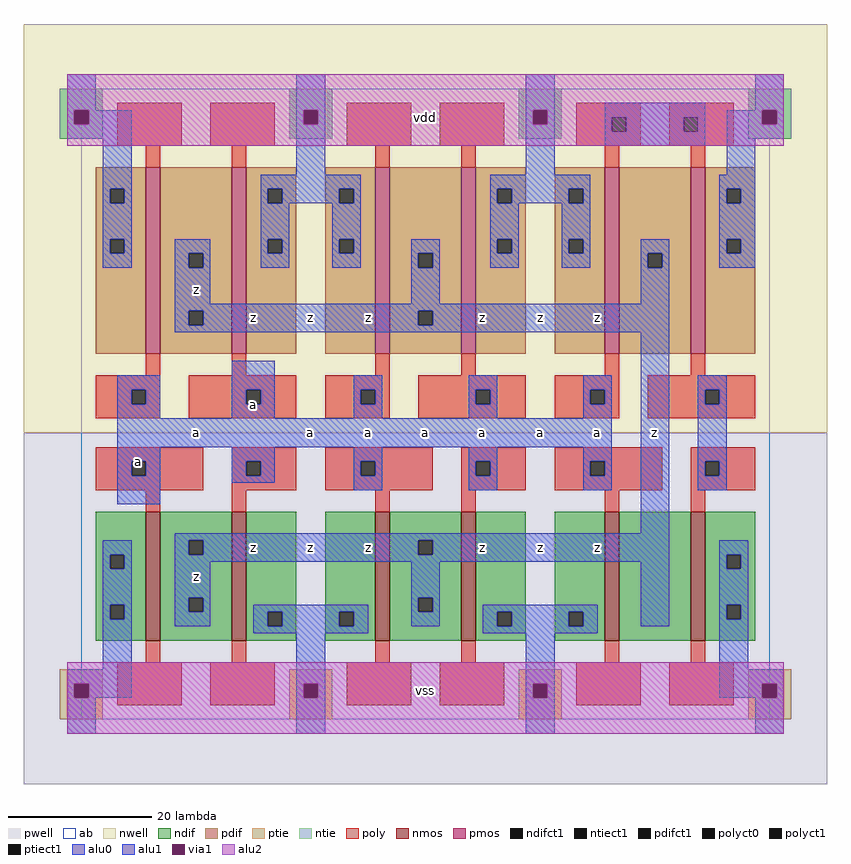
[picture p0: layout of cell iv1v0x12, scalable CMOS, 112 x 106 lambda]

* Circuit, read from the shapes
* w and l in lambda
.subckt iv1v0x12 a vdd vss z
M1 z a vss vss nfet w=18 l=2 m=4
M2 n1 a vss vss nfet w=18 l=2 m=2
M3 z a vdd vdd pfet w=26 l=2 m=6
.ends

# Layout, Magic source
magic
tech scmos
<< ab >>
rect 0 0 96 88
<< nwell >>
rect -8 40 104 97
<< pwell >>
rect -8 -9 104 40
<< poly >>
rect 5 80 14 86
rect 18 80 27 86
rect 37 80 46 86
rect 50 80 59 86
rect 69 84 78 86
rect 69 82 74 84
rect 76 82 78 84
rect 69 80 78 82
rect 82 84 91 86
rect 82 82 84 84
rect 86 82 91 84
rect 82 80 91 82
rect 9 77 11 80
rect 21 77 23 80
rect 41 77 43 80
rect 53 77 55 80
rect 73 77 75 80
rect 85 77 87 80
rect 9 48 11 51
rect 21 48 23 51
rect 41 48 43 51
rect 53 48 55 51
rect 73 48 75 51
rect 85 48 87 51
rect 2 46 11 48
rect 2 44 7 46
rect 9 44 11 46
rect 2 42 11 44
rect 15 46 30 48
rect 15 44 23 46
rect 25 44 30 46
rect 15 42 30 44
rect 34 46 43 48
rect 34 44 39 46
rect 41 44 43 46
rect 34 42 43 44
rect 47 46 62 48
rect 47 44 55 46
rect 57 44 62 46
rect 47 42 62 44
rect 66 46 75 48
rect 66 44 71 46
rect 73 44 75 46
rect 66 42 75 44
rect 79 46 94 48
rect 79 44 87 46
rect 89 44 94 46
rect 79 42 94 44
rect 2 36 17 38
rect 2 34 7 36
rect 9 34 17 36
rect 2 32 17 34
rect 21 36 30 38
rect 21 34 23 36
rect 25 34 30 36
rect 21 32 30 34
rect 34 36 49 38
rect 34 34 39 36
rect 41 34 49 36
rect 34 32 49 34
rect 53 36 62 38
rect 53 34 55 36
rect 57 34 62 36
rect 53 32 62 34
rect 66 36 81 38
rect 66 34 71 36
rect 73 34 81 36
rect 66 32 81 34
rect 85 36 94 38
rect 85 34 87 36
rect 89 34 94 36
rect 85 32 94 34
rect 9 29 11 32
rect 21 29 23 32
rect 41 29 43 32
rect 53 29 55 32
rect 73 29 75 32
rect 85 29 87 32
rect 9 8 11 11
rect 21 8 23 11
rect 41 8 43 11
rect 53 8 55 11
rect 73 8 75 11
rect 85 8 87 11
rect 5 2 14 8
rect 18 2 27 8
rect 37 2 46 8
rect 50 2 59 8
rect 69 2 78 8
rect 82 2 91 8
<< ndif >>
rect 2 23 9 29
rect 2 21 4 23
rect 6 21 9 23
rect 2 16 9 21
rect 2 14 4 16
rect 6 14 9 16
rect 2 11 9 14
rect 11 25 21 29
rect 11 23 15 25
rect 17 23 21 25
rect 11 17 21 23
rect 11 15 15 17
rect 17 15 21 17
rect 11 11 21 15
rect 23 15 30 29
rect 23 13 26 15
rect 28 13 30 15
rect 23 11 30 13
rect 34 15 41 29
rect 34 13 36 15
rect 38 13 41 15
rect 34 11 41 13
rect 43 25 53 29
rect 43 23 47 25
rect 49 23 53 25
rect 43 17 53 23
rect 43 15 47 17
rect 49 15 53 17
rect 43 11 53 15
rect 55 15 62 29
rect 55 13 58 15
rect 60 13 62 15
rect 55 11 62 13
rect 66 15 73 29
rect 66 13 68 15
rect 70 13 73 15
rect 66 11 73 13
rect 75 11 85 29
rect 87 23 94 29
rect 87 21 90 23
rect 92 21 94 23
rect 87 16 94 21
rect 87 14 90 16
rect 92 14 94 16
rect 87 11 94 14
<< pdif >>
rect 2 74 9 77
rect 2 72 4 74
rect 6 72 9 74
rect 2 67 9 72
rect 2 65 4 67
rect 6 65 9 67
rect 2 51 9 65
rect 11 65 21 77
rect 11 63 15 65
rect 17 63 21 65
rect 11 57 21 63
rect 11 55 15 57
rect 17 55 21 57
rect 11 51 21 55
rect 23 74 30 77
rect 23 72 26 74
rect 28 72 30 74
rect 23 67 30 72
rect 23 65 26 67
rect 28 65 30 67
rect 23 51 30 65
rect 34 74 41 77
rect 34 72 36 74
rect 38 72 41 74
rect 34 67 41 72
rect 34 65 36 67
rect 38 65 41 67
rect 34 51 41 65
rect 43 65 53 77
rect 43 63 47 65
rect 49 63 53 65
rect 43 57 53 63
rect 43 55 47 57
rect 49 55 53 57
rect 43 51 53 55
rect 55 74 62 77
rect 55 72 58 74
rect 60 72 62 74
rect 55 67 62 72
rect 55 65 58 67
rect 60 65 62 67
rect 55 51 62 65
rect 66 74 73 77
rect 66 72 68 74
rect 70 72 73 74
rect 66 67 73 72
rect 66 65 68 67
rect 70 65 73 67
rect 66 51 73 65
rect 75 65 85 77
rect 75 63 79 65
rect 81 63 85 65
rect 75 51 85 63
rect 87 74 94 77
rect 87 72 90 74
rect 92 72 94 74
rect 87 67 94 72
rect 87 65 90 67
rect 92 65 94 67
rect 87 51 94 65
<< alu1 >>
rect -2 85 2 90
rect 30 85 34 90
rect -2 83 -1 85
rect 1 83 7 85
rect -2 81 7 83
rect 3 74 7 81
rect 30 83 31 85
rect 33 83 34 85
rect 30 76 34 83
rect 62 85 66 90
rect 62 83 63 85
rect 65 83 66 85
rect 62 76 66 83
rect 94 85 98 90
rect 90 83 95 85
rect 97 83 98 85
rect 90 81 98 83
rect 90 76 94 81
rect 3 72 4 74
rect 6 72 7 74
rect 3 67 7 72
rect 25 74 39 76
rect 25 72 26 74
rect 28 72 36 74
rect 38 72 39 74
rect 25 67 29 72
rect 3 65 4 67
rect 6 65 7 67
rect 3 63 7 65
rect 13 65 18 67
rect 13 63 15 65
rect 17 63 18 65
rect 25 65 26 67
rect 28 65 29 67
rect 25 63 29 65
rect 35 67 39 72
rect 57 74 71 76
rect 57 72 58 74
rect 60 72 68 74
rect 70 72 71 74
rect 57 67 61 72
rect 35 65 36 67
rect 38 65 39 67
rect 35 63 39 65
rect 46 65 50 67
rect 46 63 47 65
rect 49 63 50 65
rect 57 65 58 67
rect 60 65 61 67
rect 57 63 61 65
rect 67 67 71 72
rect 89 74 94 76
rect 89 72 90 74
rect 92 72 94 74
rect 89 67 94 72
rect 67 65 68 67
rect 70 65 71 67
rect 67 63 71 65
rect 78 65 82 67
rect 78 63 79 65
rect 81 63 82 65
rect 89 65 90 67
rect 92 65 94 67
rect 89 63 94 65
rect 13 58 18 63
rect 46 58 50 63
rect 78 58 82 63
rect 13 57 82 58
rect 13 55 15 57
rect 17 55 47 57
rect 49 55 82 57
rect 13 54 82 55
rect 5 46 11 48
rect 5 44 7 46
rect 9 44 11 46
rect 5 42 11 44
rect 21 46 27 50
rect 21 44 23 46
rect 25 44 27 46
rect 21 42 27 44
rect 38 46 42 48
rect 38 44 39 46
rect 41 44 42 46
rect 38 42 42 44
rect 54 46 58 48
rect 54 44 55 46
rect 57 44 58 46
rect 54 42 58 44
rect 70 46 74 48
rect 70 44 71 46
rect 73 44 74 46
rect 70 42 74 44
rect 5 38 74 42
rect 5 36 11 38
rect 5 34 7 36
rect 9 34 11 36
rect 5 30 11 34
rect 21 36 27 38
rect 21 34 23 36
rect 25 34 27 36
rect 21 33 27 34
rect 38 36 42 38
rect 38 34 39 36
rect 41 34 42 36
rect 38 32 42 34
rect 54 36 58 38
rect 54 34 55 36
rect 57 34 58 36
rect 54 32 58 34
rect 70 36 74 38
rect 70 34 71 36
rect 73 34 74 36
rect 70 32 74 34
rect 78 26 82 54
rect 13 25 82 26
rect 3 23 7 25
rect 3 21 4 23
rect 6 21 7 23
rect 3 16 7 21
rect 3 14 4 16
rect 6 14 7 16
rect 3 7 7 14
rect 13 23 15 25
rect 17 23 47 25
rect 49 23 82 25
rect 13 22 82 23
rect 13 17 18 22
rect 13 15 15 17
rect 17 15 18 17
rect 46 17 50 22
rect 13 13 18 15
rect 24 15 40 16
rect 24 13 26 15
rect 28 13 36 15
rect 38 13 40 15
rect 46 15 47 17
rect 49 15 50 17
rect 46 13 50 15
rect 56 15 72 16
rect 56 13 58 15
rect 60 13 68 15
rect 70 13 72 15
rect 78 13 82 22
rect 89 23 93 25
rect 89 21 90 23
rect 92 21 93 23
rect 89 16 93 21
rect 89 14 90 16
rect 92 14 93 16
rect 24 12 40 13
rect 56 12 72 13
rect -2 5 7 7
rect -2 3 -1 5
rect 1 3 7 5
rect 30 5 34 12
rect 30 3 31 5
rect 33 3 34 5
rect -2 -2 2 3
rect 30 -2 34 3
rect 62 5 66 12
rect 62 3 63 5
rect 65 3 66 5
rect 89 7 93 14
rect 89 5 98 7
rect 89 3 95 5
rect 97 3 98 5
rect 62 -2 66 3
rect 94 -2 98 3
<< alu2 >>
rect -2 85 98 90
rect -2 83 -1 85
rect 1 83 31 85
rect 33 83 63 85
rect 65 83 95 85
rect 97 83 98 85
rect -2 80 98 83
rect -2 5 98 8
rect -2 3 -1 5
rect 1 3 31 5
rect 33 3 63 5
rect 65 3 95 5
rect 97 3 98 5
rect -2 -2 98 3
<< ptie >>
rect -3 5 3 7
rect -3 3 -1 5
rect 1 3 3 5
rect -3 0 3 3
rect 29 5 35 7
rect 29 3 31 5
rect 33 3 35 5
rect 29 0 35 3
rect 61 5 67 7
rect 61 3 63 5
rect 65 3 67 5
rect 61 0 67 3
rect 93 5 99 7
rect 93 3 95 5
rect 97 3 99 5
rect 93 0 99 3
<< ntie >>
rect -3 85 3 88
rect -3 83 -1 85
rect 1 83 3 85
rect -3 81 3 83
rect 29 85 35 88
rect 29 83 31 85
rect 33 83 35 85
rect 29 81 35 83
rect 61 85 67 88
rect 61 83 63 85
rect 65 83 67 85
rect 61 81 67 83
rect 93 85 99 88
rect 93 83 95 85
rect 97 83 99 85
rect 93 81 99 83
<< nmos >>
rect 9 11 11 29
rect 21 11 23 29
rect 41 11 43 29
rect 53 11 55 29
rect 73 11 75 29
rect 85 11 87 29
<< pmos >>
rect 9 51 11 77
rect 21 51 23 77
rect 41 51 43 77
rect 53 51 55 77
rect 73 51 75 77
rect 85 51 87 77
<< polyct0 >>
rect 74 82 76 84
rect 84 82 86 84
rect 87 44 89 46
rect 87 34 89 36
<< polyct1 >>
rect 7 44 9 46
rect 23 44 25 46
rect 39 44 41 46
rect 55 44 57 46
rect 71 44 73 46
rect 7 34 9 36
rect 23 34 25 36
rect 39 34 41 36
rect 55 34 57 36
rect 71 34 73 36
<< ndifct1 >>
rect 4 21 6 23
rect 4 14 6 16
rect 15 23 17 25
rect 15 15 17 17
rect 26 13 28 15
rect 36 13 38 15
rect 47 23 49 25
rect 47 15 49 17
rect 58 13 60 15
rect 68 13 70 15
rect 90 21 92 23
rect 90 14 92 16
<< ntiect1 >>
rect -1 83 1 85
rect 31 83 33 85
rect 63 83 65 85
rect 95 83 97 85
<< ptiect1 >>
rect -1 3 1 5
rect 31 3 33 5
rect 63 3 65 5
rect 95 3 97 5
<< pdifct1 >>
rect 4 72 6 74
rect 4 65 6 67
rect 15 63 17 65
rect 15 55 17 57
rect 26 72 28 74
rect 26 65 28 67
rect 36 72 38 74
rect 36 65 38 67
rect 47 63 49 65
rect 47 55 49 57
rect 58 72 60 74
rect 58 65 60 67
rect 68 72 70 74
rect 68 65 70 67
rect 79 63 81 65
rect 90 72 92 74
rect 90 65 92 67
<< alu0 >>
rect 73 84 87 86
rect 73 82 74 84
rect 76 82 84 84
rect 86 82 87 84
rect 73 80 87 82
rect 86 46 90 48
rect 86 44 87 46
rect 89 44 90 46
rect 86 36 90 44
rect 86 34 87 36
rect 89 34 90 36
rect 86 32 90 34
<< via1 >>
rect -1 83 1 85
rect 31 83 33 85
rect 63 83 65 85
rect 95 83 97 85
rect -1 3 1 5
rect 31 3 33 5
rect 63 3 65 5
rect 95 3 97 5
<< labels >>
rlabel alu1 8 36 8 36 6 a
rlabel alu1 16 20 16 20 6 z
rlabel alu1 32 24 32 24 6 z
rlabel alu1 24 24 24 24 6 z
rlabel alu1 16 40 16 40 6 a
rlabel alu1 32 40 32 40 6 a
rlabel alu1 24 44 24 44 6 a
rlabel alu1 24 56 24 56 6 z
rlabel alu1 32 56 32 56 6 z
rlabel alu1 16 60 16 60 6 z
rlabel alu1 40 24 40 24 6 z
rlabel alu1 56 24 56 24 6 z
rlabel alu1 40 40 40 40 6 a
rlabel alu1 56 40 56 40 6 a
rlabel alu1 48 40 48 40 6 a
rlabel alu1 56 56 56 56 6 z
rlabel alu1 40 56 40 56 6 z
rlabel alu1 72 24 72 24 6 z
rlabel alu1 64 24 64 24 6 z
rlabel alu1 72 40 72 40 6 a
rlabel alu1 64 40 64 40 6 a
rlabel alu1 64 56 64 56 6 z
rlabel alu1 72 56 72 56 6 z
rlabel alu1 80 40 80 40 6 z
rlabel alu2 48 4 48 4 6 vss
rlabel alu2 48 84 48 84 6 vdd
<< end >>
